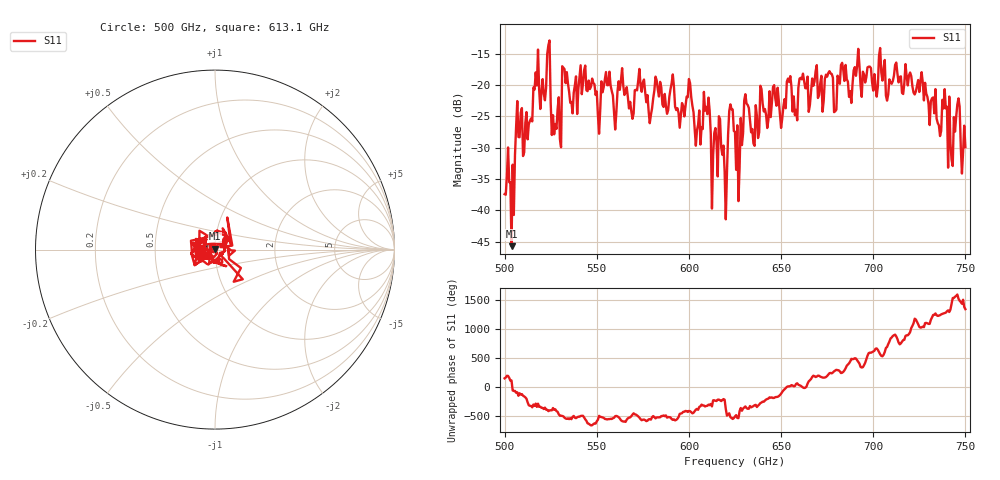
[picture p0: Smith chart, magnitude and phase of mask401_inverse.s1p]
!Created with skrf (http://scikit-rf.org).
# GHz S MA R 50.0
!freq magS11 angS11
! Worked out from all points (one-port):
!   401 points, 500 GHz to 750 GHz, reference 50 ohm
!   lowest |S11| = -45.7 dB at 503.8 GHz (marker M1), VSWR 1.01, Z = 49.8 + j0.492 ohm
!   |S11| at or under -10 dB: start of sweep to end of sweep
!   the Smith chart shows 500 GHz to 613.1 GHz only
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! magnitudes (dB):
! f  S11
! 500 GHz  -37.4
! 503.8 GHz  -45.7
! 507.5 GHz  -28.3
! 513.8 GHz  -25.7
! 516.9 GHz  -18.0
! 523.8 GHz  -13.7
! 526.9 GHz  -27.9
! 531.2 GHz  -17.0
! 532.5 GHz  -17.5
! 550.6 GHz  -24.8
! 562.5 GHz  -20.8
! 590.6 GHz  -19.7
! 593.8 GHz  -23.7
! 600 GHz  -19.1
! 605 GHz  -26.3
! 609.4 GHz  -23.5
! 619.4 GHz  -33.8
! 622.5 GHz  -23.1
! 625 GHz  -27.5
! 626.2 GHz  -26.4
! 631.2 GHz  -23.0
! 634.4 GHz  -27.0
! 640 GHz  -23.0
! 656.2 GHz  -24.2
! 687.5 GHz  -21.0
! 691.2 GHz  -17.0
! 718.8 GHz  -20.1
! 750 GHz  -29.9
